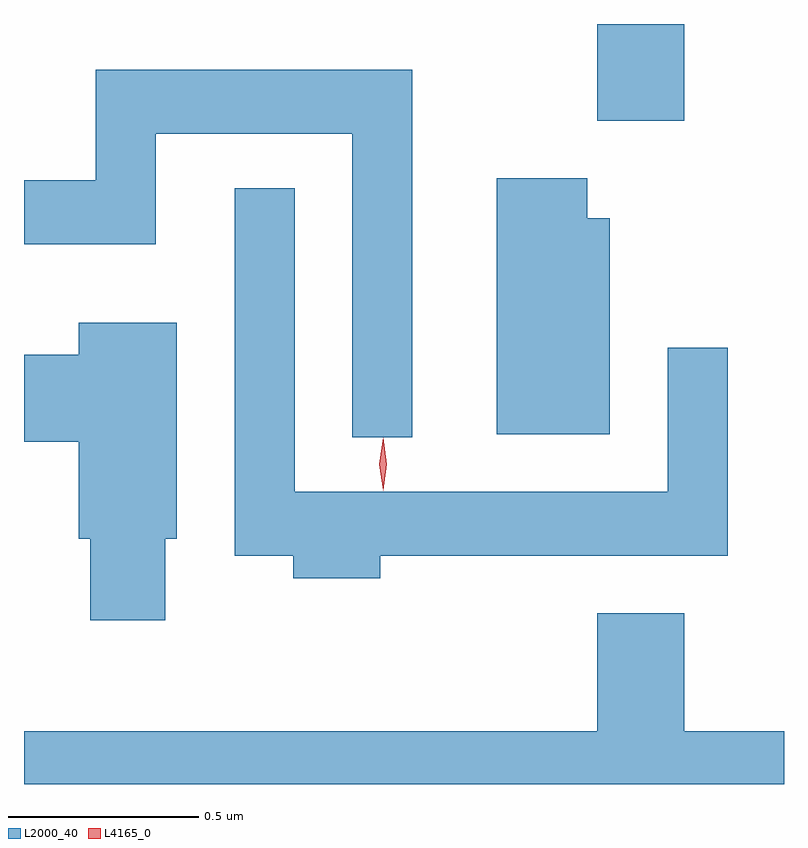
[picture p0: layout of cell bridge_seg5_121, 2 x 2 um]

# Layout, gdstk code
import gdstk
lib = gdstk.Library(unit=1e-6, precision=1e-09)
def R(c, l, rs):  # rectangles x0, y0, x1, y1
    for r in rs: c.add(gdstk.rectangle(r[:2], r[2:], *l))
def P(c, l, *ps):  # polygons
    for p in ps: c.add(gdstk.Polygon(p, *l))
L2000_40 = (2000, 40)
L4165_0 = (4165, 0)

bridge_seg5_121 = lib.new_cell('bridge_seg5_121')
R(bridge_seg5_121, L2000_40, [(1181.221,1505.291,1181.449,1505.545)])
P(bridge_seg5_121, L2000_40, [(1180.734,1505.424),(1179.901,1505.424),(1179.901,1505.134),(1179.712,1505.134),(1179.712,1504.966),(1180.059,1504.966),(1180.059,1505.256),(1180.576,1505.256),(1180.576,1504.458),(1180.734,1504.458)],
  [(1181.254,1505.034),(1181.194,1505.034),(1181.194,1505.139),(1180.956,1505.139),(1180.956,1504.466),(1181.254,1504.466)],
  [(1180.649,1504.146),(1181.564,1504.146),(1181.564,1504.693),(1181.406,1504.693),(1181.406,1504.314),(1180.424,1504.314),(1180.424,1505.113),(1180.266,1505.113),(1180.266,1504.146),(1180.421,1504.146),(1180.421,1504.086),(1180.649,1504.086)],
  [(1180.084,1504.191),(1180.114,1504.191),(1180.114,1504.759),(1179.856,1504.759),(1179.856,1504.674),(1179.712,1504.674),(1179.712,1504.446),(1179.856,1504.446),(1179.856,1504.191),(1179.886,1504.191),(1179.886,1503.976),(1180.084,1503.976)],
  [(1181.712,1503.684),(1181.449,1503.684),(1181.449,1503.994),(1181.221,1503.994),(1181.221,1503.684),(1179.712,1503.684),(1179.712,1503.545),(1181.712,1503.545)])
P(bridge_seg5_121, L4165_0, [(1180.657,1504.317),(1180.657,1504.318),(1180.647,1504.387),(1180.657,1504.456),(1180.657,1504.456),(1180.658,1504.456),(1180.667,1504.387),(1180.658,1504.318)])

lib.write_gds('bridge_seg5_121.gds')
